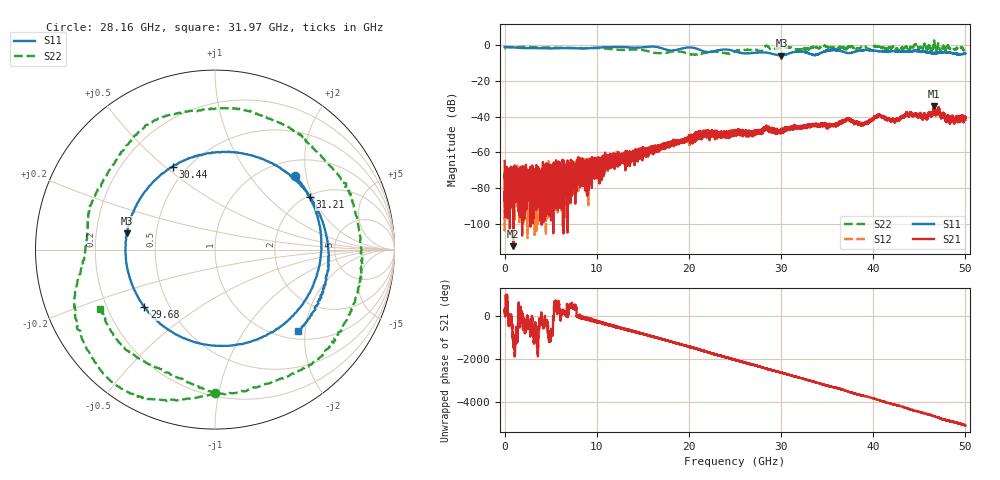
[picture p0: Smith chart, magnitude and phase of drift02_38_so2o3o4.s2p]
!Created with skrf (http://scikit-rf.org).
# Hz S RI R 50.0
!freq ReS11 ImS11 ReS21 ImS21 ReS12 ImS12 ReS22 ImS22
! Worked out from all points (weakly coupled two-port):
!   10001 points, 300 kHz to 50 GHz, reference 50 ohm
!   highest |S21| = -34.41 dB at 46.58 GHz (marker M1); lowest = -112.2 dB at 945.3 MHz (marker M2)
!   lowest |S11| = -6.1 dB at 30.05 GHz (marker M3), VSWR 2.97, Z = 16.9 + j4.08 ohm
!   |S11| at or under -10 dB: nowhere
!   |S22| runs from -5.7 to 2.3 dB; largest |S21 - S12| = 0.0027
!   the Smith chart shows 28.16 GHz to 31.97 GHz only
!   S11 on the Smith chart (normalised r, x): 28.16 GHz: 1.33, +1.73; 29.68 GHz: 0.36, -0.31; 30.44 GHz: 0.42, +0.53; 31.21 GHz: 2.07, +1.91; 31.97 GHz: 1.17, -1.84
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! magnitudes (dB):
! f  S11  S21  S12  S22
! 300 kHz  -1.3  -64.8  -72.0  -2.1
! 255.3 MHz  -1.4  -73.9  -72.9  -1.4
! 945.3 MHz  -1.5  -112.2  -73.9  -1.5
! 4.825 GHz  -2.1  -78.9  -72.3  -1.6
! 8.335 GHz  -2.2  -69.8  -69.6  -1.9
! 16.67 GHz  -1.5  -56.9  -58.4  -4.7
! 21.33 GHz  -3.2  -49.1  -50.6  -5.1
! 25 GHz  -3.7  -48.0  -49.2  -3.9
! 28.16 GHz  -4.4  -46.8  -47.0  -1.9
! 29.68 GHz  -5.9  -48.5  -49.0  -2.1
! 30.05 GHz  -6.1  -47.5  -48.0  -2.0
! 30.44 GHz  -5.7  -47.9  -47.6  -1.8
! 31.21 GHz  -4.4  -46.0  -46.4  -1.8
! 31.97 GHz  -3.8  -46.6  -45.7  -2.8
! 33.34 GHz  -5.5  -44.7  -45.3  -1.5
! 37.21 GHz  -4.7  -41.8  -41.7  -1.6
! 38.86 GHz  -3.1  -44.1  -44.2  -1.3
! 40.65 GHz  -3.7  -39.0  -39.4  -0.9
! 41.67 GHz  -3.6  -41.3  -41.0  -1.9
! 46.58 GHz  -4.7  -34.4  -34.8  1.4
! 48.12 GHz  -4.4  -39.7  -40.3  -0.6
! 50 GHz  -4.9  -41.9  -40.6  -2.6
